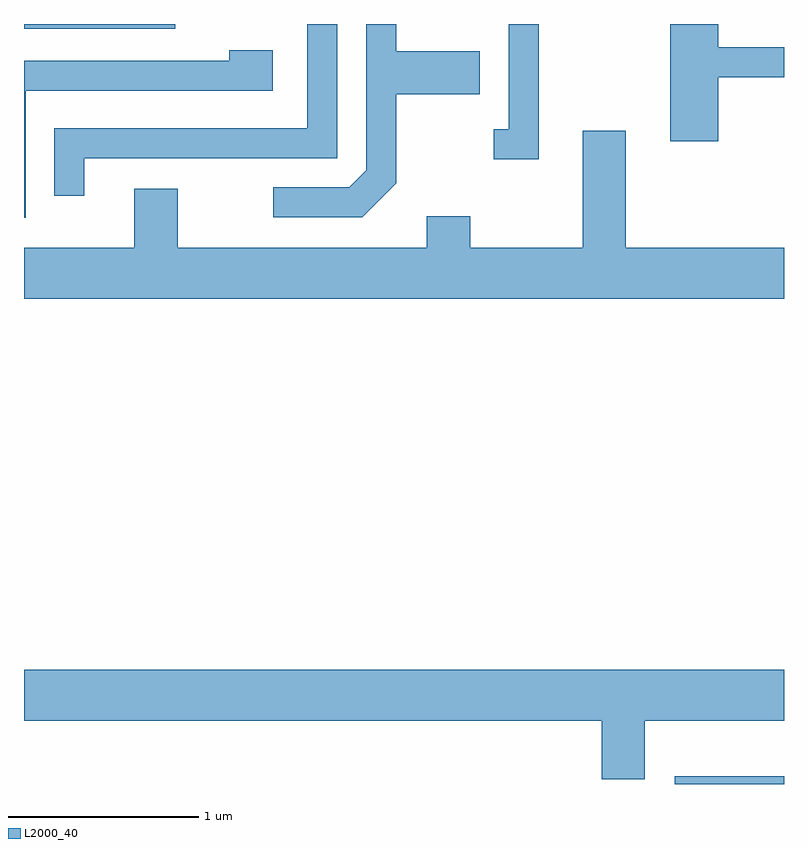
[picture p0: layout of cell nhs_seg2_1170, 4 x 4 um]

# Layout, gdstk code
import gdstk
lib = gdstk.Library(unit=1e-6, precision=1e-09)
def R(c, l, rs):  # rectangles x0, y0, x1, y1
    for r in rs: c.add(gdstk.rectangle(r[:2], r[2:], *l))
def P(c, l, *ps):  # polygons
    for p in ps: c.add(gdstk.Polygon(p, *l))
L2000_40 = (2000, 40)

nhs_seg2_1170 = lib.new_cell('nhs_seg2_1170')
R(nhs_seg2_1170, L2000_40, [(223.036,1005.802,223.611,1005.844), (219.611,1009.776,220.408,1009.802)])
P(nhs_seg2_1170, L2000_40, [(221.569,1008.964),(221.569,1009.431),(222.009,1009.431),(222.009,1009.659),(221.569,1009.659),(221.569,1009.802),(221.411,1009.802),(221.411,1009.032),(221.324,1008.944),(220.923,1008.944),(220.923,1008.786),(221.392,1008.786)],
  [(223.264,1009.521),(223.611,1009.521),(223.611,1009.679),(223.264,1009.679),(223.264,1009.802),(223.011,1009.802),(223.011,1009.186),(223.264,1009.186)],
  [(222.319,1009.802),(222.161,1009.802),(222.161,1009.249),(222.083,1009.249),(222.083,1009.091),(222.319,1009.091)],
  [(219.929,1009.096),(221.259,1009.096),(221.259,1009.802),(221.101,1009.802),(221.101,1009.254),(219.771,1009.254),(219.771,1008.898),(219.929,1008.898)],
  [(219.619,1009.451),(220.919,1009.451),(220.919,1009.664),(220.691,1009.664),(220.691,1009.609),(219.611,1009.609),(219.611,1008.781),(219.619,1008.781)],
  [(222.551,1009.239),(222.551,1008.624),(221.959,1008.624),(221.959,1008.789),(221.731,1008.789),(221.731,1008.624),(220.419,1008.624),(220.419,1008.934),(220.191,1008.934),(220.191,1008.624),(219.611,1008.624),(219.611,1008.356),(223.611,1008.356),(223.611,1008.624),(222.779,1008.624),(222.779,1009.239)],
  [(222.879,1006.136),(223.611,1006.136),(223.611,1006.404),(219.611,1006.404),(219.611,1006.136),(222.651,1006.136),(222.651,1005.826),(222.879,1005.826)])

lib.write_gds('nhs_seg2_1170.gds')
